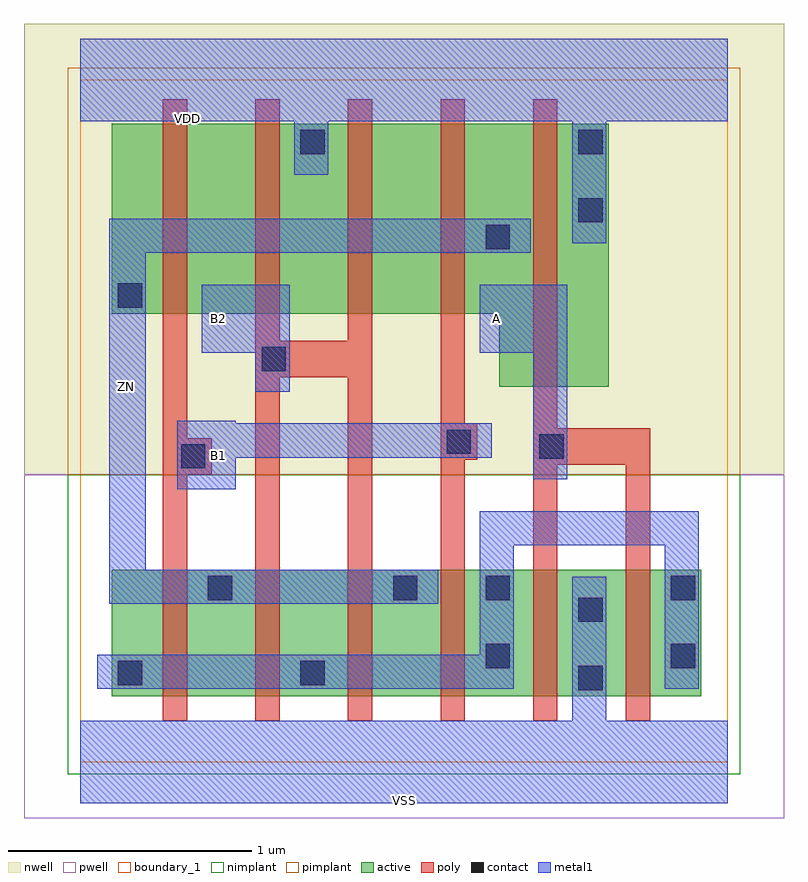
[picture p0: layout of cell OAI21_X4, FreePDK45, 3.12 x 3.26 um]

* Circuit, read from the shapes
.subckt OAI21_X4 A B1 B2 VDD VSS ZN
M1 ZN B1 n1 VSUBS nfet w=0.52u l=0.1u m=2
M2 n1 B2 ZN VSUBS nfet w=0.52u l=0.1u m=2
M3 VSS A n1 VSUBS nfet w=0.52u l=0.1u m=2
M4 n2 B1 ZN n3 pfet w=0.78u l=0.1u
M5 VDD B2 n2 n3 pfet w=0.78u l=0.1u
M6 n4 B2 VDD n3 pfet w=0.78u l=0.1u
M7 ZN B1 n4 n3 pfet w=0.78u l=0.1u
M8 VDD A ZN n3 pfet w=1.08u l=0.1u
.ends

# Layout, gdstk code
import gdstk
lib = gdstk.Library(unit=1e-6, precision=1e-09)
def R(c, l, rs):  # rectangles x0, y0, x1, y1
    for r in rs: c.add(gdstk.rectangle(r[:2], r[2:], *l))
def P(c, l, *ps):  # polygons
    for p in ps: c.add(gdstk.Polygon(p, *l))
active = (1, 0)
pwell = (2, 0)
nwell = (3, 0)
nimplant = (4, 0)
pimplant = (5, 0)
poly = (9, 0)
contact = (10, 0)
metal1 = (11, 0)
boundary_1 = (235, 1)

oai21_x4 = lib.new_cell('OAI21_X4')
R(oai21_x4, active, [(0.13,0.27,2.55,0.79)])
P(oai21_x4, active, [(0.13,1.84),(1.72,1.84),(1.72,1.54),(2.17,1.54),(2.17,2.62),(0.13,2.62)])
R(oai21_x4, pwell, [(-0.23,-0.23,2.89,1.18)])
R(oai21_x4, nwell, [(-0.23,1.18,2.89,3.03)])
R(oai21_x4, nimplant, [(-0.05,-0.05,2.71,1.18)])
R(oai21_x4, pimplant, [(-0.05,1.18,2.71,2.85)])
P(oai21_x4, poly, [(1.86,0.17),(1.96,0.17),(1.96,1.22),(2.24,1.22),(2.24,0.17),(2.34,0.17),(2.34,1.37),(1.96,1.37),(1.96,2.72),(1.86,2.72)],
  [(1.48,0.17),(1.58,0.17),(1.58,1.24),(1.63,1.24),(1.63,1.39),(1.58,1.39),(1.58,2.72),(1.48,2.72)],
  [(0.72,0.17),(0.82,0.17),(0.82,1.58),(1.1,1.58),(1.1,0.17),(1.2,0.17),(1.2,2.72),(1.1,2.72),(1.1,1.73),(0.82,1.73),(0.82,2.72),(0.72,2.72)],
  [(0.34,0.17),(0.44,0.17),(0.44,1.18),(0.54,1.18),(0.54,1.33),(0.44,1.33),(0.44,2.72),(0.34,2.72)])
R(oai21_x4, contact, [(2.045,0.295,2.145,0.395), (0.155,0.315,0.255,0.415), (0.905,0.315,1.005,0.415), (1.665,0.385,1.765,0.485), (2.425,0.385,2.525,0.485), (2.045,0.575,2.145,0.675), (0.525,0.665,0.625,0.765), (1.285,0.665,1.385,0.765), (1.665,0.665,1.765,0.765), (2.425,0.665,2.525,0.765), (0.415,1.205,0.515,1.305), (1.885,1.245,1.985,1.345), (1.505,1.265,1.605,1.365), (0.745,1.605,0.845,1.705), (0.155,1.865,0.255,1.965), (1.665,2.105,1.765,2.205), (2.045,2.215,2.145,2.315), (0.905,2.495,1.005,2.595), (2.045,2.495,2.145,2.595)])
P(oai21_x4, metal1, [(0.27,2.09),(1.85,2.09),(1.85,2.23),(0.12,2.23),(0.12,0.65),(1.47,0.65),(1.47,0.79),(0.27,0.79)],
  [(0.5,1.68),(0.72,1.68),(0.72,1.52),(0.86,1.52),(0.86,1.96),(0.5,1.96)],
  [(0,-0.17),(2.66,-0.17),(2.66,0.17),(2.16,0.17),(2.16,0.76),(2.02,0.76),(2.02,0.17),(0,0.17)],
  [(0.4,1.12),(0.64,1.12),(0.64,1.25),(1.69,1.25),(1.69,1.39),(0.64,1.39),(0.64,1.4),(0.4,1.4)],
  [(0,2.63),(0.88,2.63),(0.88,2.41),(1.02,2.41),(1.02,2.63),(2.02,2.63),(2.02,2.13),(2.16,2.13),(2.16,2.63),(2.66,2.63),(2.66,2.97),(0,2.97)],
  [(1.64,1.68),(1.86,1.68),(1.86,1.16),(2,1.16),(2,1.96),(1.64,1.96)],
  [(0,2.63),(0.88,2.63),(0.88,2.41),(1.02,2.41),(1.02,2.63),(2.02,2.63),(2.02,2.13),(2.16,2.13),(2.16,2.63),(2.66,2.63),(2.66,2.97),(0,2.97)],
  [(0,-0.17),(2.66,-0.17),(2.66,0.17),(2.16,0.17),(2.16,0.76),(2.02,0.76),(2.02,0.17),(0,0.17)],
  [(0.07,0.3),(1.78,0.3),(1.78,0.89),(2.4,0.89),(2.4,0.3),(2.54,0.3),(2.54,1.03),(1.64,1.03),(1.64,0.44),(0.07,0.44)],
  [(1.64,1.68),(1.86,1.68),(1.86,1.16),(2,1.16),(2,1.96),(1.64,1.96)],
  [(0.27,2.09),(1.85,2.09),(1.85,2.23),(0.12,2.23),(0.12,0.65),(1.47,0.65),(1.47,0.79),(0.27,0.79)],
  [(0.4,1.12),(0.64,1.12),(0.64,1.25),(1.69,1.25),(1.69,1.39),(0.64,1.39),(0.64,1.4),(0.4,1.4)],
  [(0.5,1.68),(0.72,1.68),(0.72,1.52),(0.86,1.52),(0.86,1.96),(0.5,1.96)])
R(oai21_x4, boundary_1, [(0,0,2.66,2.8)])
oai21_x4.add(gdstk.Label('ZN', (0.19,1.54), layer=11, texttype=0))
oai21_x4.add(gdstk.Label('VSS', (1.33,-0.16), layer=11, texttype=0))
oai21_x4.add(gdstk.Label('VDD', (0.44,2.64), layer=11, texttype=0))
oai21_x4.add(gdstk.Label('B2', (0.57,1.82), layer=11, texttype=0))
oai21_x4.add(gdstk.Label('B1', (0.57,1.26), layer=11, texttype=0))
oai21_x4.add(gdstk.Label('A', (1.71,1.82), layer=11, texttype=0))

lib.write_gds('OAI21_X4.gds')
